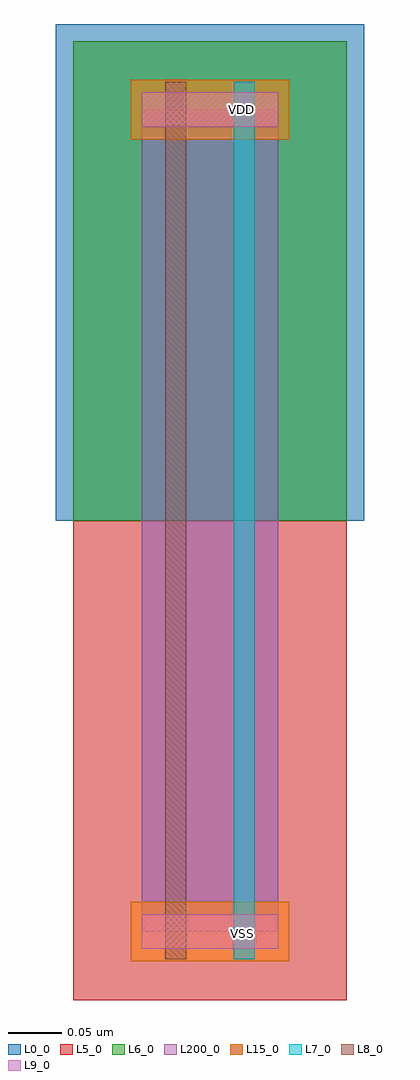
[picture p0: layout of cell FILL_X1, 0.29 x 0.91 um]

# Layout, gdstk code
import gdstk
lib = gdstk.Library(unit=1e-6, precision=1e-09)
def R(c, l, rs):  # rectangles x0, y0, x1, y1
    for r in rs: c.add(gdstk.rectangle(r[:2], r[2:], *l))
L0_0 = (0, 0)
L5_0 = (5, 0)
L6_0 = (6, 0)
L7_0 = (7, 0)
L8_0 = (8, 0)
L9_0 = (9, 0)
L15_0 = (15, 0)
L200_0 = (200, 0)

fill_x1 = lib.new_cell('FILL_X1')
R(fill_x1, L0_0, [(-0.08,0.384,0.208,0.848)])
R(fill_x1, L5_0, [(-0.064,-0.064,0.192,0.384)])
R(fill_x1, L6_0, [(-0.064,0.384,0.192,0.832)])
R(fill_x1, L7_0, [(0.086,-0.026,0.106,0.794)])
R(fill_x1, L8_0, [(0.022,-0.026,0.042,0.794)])
R(fill_x1, L9_0, [(0,-0.016,0.128,0.016), (0,0.752,0.128,0.784)])
R(fill_x1, L15_0, [(-0.01,-0.028,0.138,0.028), (-0.01,0.74,0.138,0.796)])
R(fill_x1, L200_0, [(0,0,0.128,0.768)])
fill_x1.add(gdstk.Label('VSS', (0.094,-0.002), layer=15, texttype=20))
fill_x1.add(gdstk.Label('VDD', (0.093,0.768), layer=15, texttype=20))

lib.write_gds('FILL_X1.gds')
